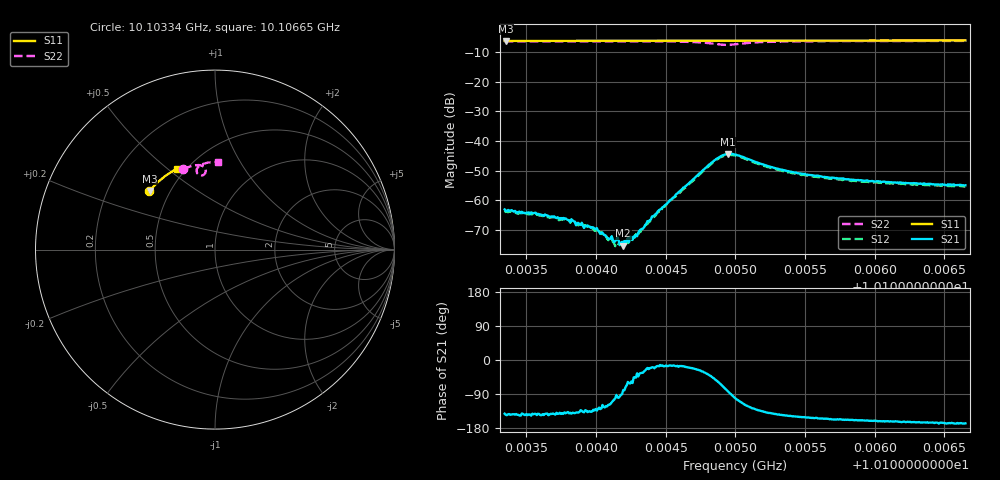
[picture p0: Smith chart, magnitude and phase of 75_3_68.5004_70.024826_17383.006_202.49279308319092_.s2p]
#  HZ  S  RI  R  50.00
! Rohde & Schwarz Vector Network Analyzer
! Rohde-Schwarz,ZNB20-2Port,1311601062101988,3.16
! Created: UTC 3/20/2024, 4:51:55 PM
! freq[Hz]  re:S11  im:S11  re:S21  im:S21  re:S12  im:S12  re:S22  im:S22
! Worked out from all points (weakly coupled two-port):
!   401 points, 10.10334 GHz to 10.10665 GHz, reference 50 ohm
!   highest |S21| = -44.39 dB at 10.10495 GHz (marker M1); lowest = -75.4 dB at 10.1042 GHz (marker M2)
!   lowest |S11| = -6.2 dB at 10.10335 GHz (marker M3), VSWR 2.92, Z = 19.3 + j16.6 ohm
!   |S11| at or under -10 dB: nowhere
!   |S22| runs from -7.6 to -6.2 dB; largest |S21 - S12| = 0.00061
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1.0103345e10  -0.365 0.3262  -0.000546 -0.000432  -0.00049 -0.000439  -0.1772 0.4481
1.0103353e10  -0.3645 0.3266  -0.000538 -0.000379  -0.000464 -0.000428  -0.1765 0.4483
1.0103551e10  -0.3568 0.3359  -0.000483 -0.000361  -0.000406 -0.000366  -0.164 0.4534
1.0103766e10  -0.3482 0.3458  -0.000394 -0.000308  -0.000334 -0.000336  -0.15 0.4587
1.0103898e10  -0.3426 0.3517  -0.000289 -0.000296  -0.000269 -0.000302  -0.141 0.4618
1.0103989e10  -0.3388 0.3556  -0.000225 -0.00024  -0.000173 -0.00025  -0.1347 0.4638
1.0104089e10  -0.3345 0.36  -0.000106 -0.000198  -9.95e-05 -0.000186  -0.1273 0.4659
1.0104138e10  -0.3324 0.3622  -3.98e-05 -0.0002  -3.17e-05 -0.000164  -0.1235 0.4668
1.0104155e10  -0.3317 0.3629  -3.62e-05 -0.000233  -1.33e-05 -0.000183  -0.1224 0.4671
1.0104196e10  -0.3299 0.3646  3.22e-05 -0.000166  4.63e-05 -0.000191  -0.1191 0.4677
1.0104246e10  -0.3278 0.3668  0.000114 -0.000216  0.000152 -0.000151  -0.1152 0.4688
1.0104279e10  -0.3264 0.3682  0.000166 -0.000166  0.0002 -0.000152  -0.1125 0.4692
1.010432e10  -0.3245 0.37  0.000263 -0.000182  0.00026 -0.000127  -0.1089 0.4697
1.0104452e10  -0.3186 0.3753  0.000651 -0.000192  0.000631 -0.00011  -0.0966 0.4709
1.0104824e10  -0.3016 0.3902  0.00309 -0.0028  0.00319 -0.00243  -0.0517 0.4413
1.010489e10  -0.2984 0.3927  0.00253 -0.00479  0.00286 -0.0044  -0.058 0.421
1.0104948e10  -0.2959 0.3947  0.000692 -0.006  0.00117 -0.00565  -0.0775 0.4124
1.0104998e10  -0.2937 0.3966  -0.00105 -0.00578  -0.000493 -0.00566  -0.0936 0.4188
1.0105279e10  -0.2804 0.4072  -0.00277 -0.00214  -0.00248 -0.00228  -0.0878 0.4667
1.0105552e10  -0.2671 0.4171  -0.00234 -0.00119  -0.00212 -0.00136  -0.0636 0.4786
1.0106106e10  -0.2388 0.4354  -0.00193 -0.000603  -0.00175 -0.000765  -0.0223 0.4867
1.0106651e10  -0.2099 0.4514  -0.00174 -0.000395  -0.00162 -0.000513  0.0147 0.4891
